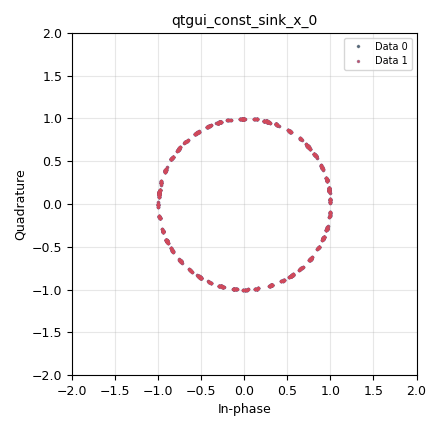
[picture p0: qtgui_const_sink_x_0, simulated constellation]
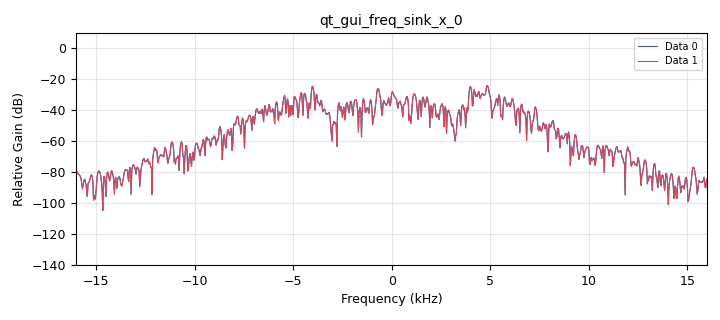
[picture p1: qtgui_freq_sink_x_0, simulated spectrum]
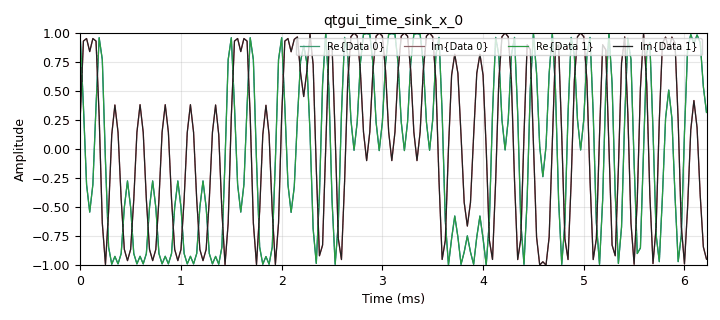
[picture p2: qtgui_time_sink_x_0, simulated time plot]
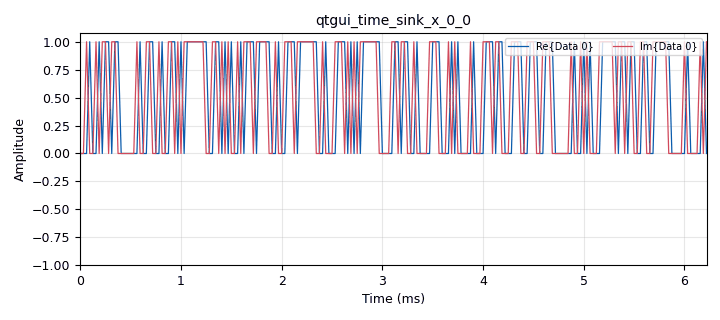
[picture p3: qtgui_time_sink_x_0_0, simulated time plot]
options:
  parameters:
    author: 2023200129, Rajas
    generate_options: qt_gui
    id: Gfsk
    output_language: python
    title: GFSK with Channel
  states: {}

blocks:
- name: excess_bw
  id: variable
  parameters:
    value: '0.3'
  states: {}
- name: freq_offset
  id: variable_qtgui_range
  parameters:
    label: Frequency Offset
    start: '-0.1'
    step: '0.001'
    stop: '0.1'
    value: '0'
    widget: slider
  states: {}
- name: noise_voltage
  id: variable_qtgui_range
  parameters:
    label: Noise_voltage(Ch)
    start: '0'
    step: '0.01'
    stop: '1'
    value: '0'
  states: {}
- name: samp_rate
  id: variable
  parameters:
    value: '32000'
  states: {}
- name: samp_rate_0
  id: variable
  parameters:
    value: '32000'
  states: {}
- name: sps
  id: variable
  parameters:
    value: '4'
  states: {}
- name: taps
  id: variable
  parameters:
    value: '1'
  states: {}
- name: time_offset
  id: variable_qtgui_range
  parameters:
    label: Timing Offset (Channel)
    start: '0.999'
    step: '0.0001'
    stop: '1.001'
    value: '1'
  states: {}
- name: analog_random_source_x_0
  id: analog_random_source_x
  parameters:
    max: '256'
    min: '0'
    num_samps: '1024'
    repeat: 'True'
    type: byte
  states: {}
- name: blocks_interleaved_char_to_complex_0
  id: blocks_interleaved_char_to_complex
  parameters:
    scale_factor: '1.0'
    vector_input: 'False'
  states: {}
- name: blocks_throttle_0
  id: blocks_throttle
  parameters:
    samples_per_second: samp_rate
    type: complex
  states: {}
- name: blocks_throttle_0_0
  id: blocks_throttle
  parameters:
    samples_per_second: samp_rate
    type: complex
  states: {}
- name: channels_channel_model_0
  id: channels_channel_model
  parameters:
    epsilon: '1.0'
    freq_offset: '0.0'
    noise_voltage: '0.0'
    seed: '0'
    taps: '1.0'
  states: {}
- name: digital_gfsk_demod_0
  id: digital_gfsk_demod
  parameters:
    freq_error: '0.0'
    gain_mu: '0.175'
    mu: '0.5'
    omega_relative_limit: '0.005'
    samples_per_symbol: '2'
    sensitivity: '1.0'
  states: {}
- name: digital_gfsk_mod_0
  id: digital_gfsk_mod
  parameters:
    bt: '0.35'
    samples_per_symbol: '4'
    sensitivity: '1.0'
  states: {}
- name: qtgui_const_sink_x_0
  id: qtgui_const_sink_x
  parameters:
    nconnections: '2'
    size: '1024'
    type: complex
  states: {}
- name: qtgui_freq_sink_x_0
  id: qtgui_freq_sink_x
  parameters:
    bw: samp_rate
    fc: '0'
    fftsize: '1024'
    name: qt_gui_freq_sink_x_0
    nconnections: '2'
    type: complex
    wintype: window.WIN_FLATTOP
  states: {}
- name: qtgui_time_sink_x_0
  id: qtgui_time_sink_x
  parameters:
    name: qtgui_time_sink_x_0
    nconnections: '2'
    size: '200'
    srate: samp_rate
    type: complex
  states: {}
- name: qtgui_time_sink_x_0_0
  id: qtgui_time_sink_x
  parameters:
    size: '200'
    srate: samp_rate
    type: complex
  states: {}
- name: virtual_sink_0
  id: virtual_sink
  parameters: {}
  states: {}
- name: virtual_source_0
  id: virtual_source
  parameters: {}
  states: {}

connections:
- [analog_random_source_x_0, '0', digital_gfsk_mod_0, '0']
- [blocks_interleaved_char_to_complex_0, '0', blocks_throttle_0_0, '0']
- [blocks_throttle_0, '0', qtgui_const_sink_x_0, '0']
- [blocks_throttle_0, '0', qtgui_const_sink_x_0, '1']
- [blocks_throttle_0, '0', qtgui_freq_sink_x_0, '0']
- [blocks_throttle_0, '0', qtgui_freq_sink_x_0, '1']
- [blocks_throttle_0, '0', qtgui_time_sink_x_0, '0']
- [blocks_throttle_0, '0', qtgui_time_sink_x_0, '1']
- [blocks_throttle_0_0, '0', qtgui_time_sink_x_0_0, '0']
- [channels_channel_model_0, '0', blocks_throttle_0, '0']
- [channels_channel_model_0, '0', virtual_sink_0, '0']
- [digital_gfsk_demod_0, '0', blocks_interleaved_char_to_complex_0, '0']
- [digital_gfsk_mod_0, '0', channels_channel_model_0, '0']
- [virtual_source_0, '0', digital_gfsk_demod_0, '0']

metadata:
  file_format: 1
  grc_version: 3.10.12.0
